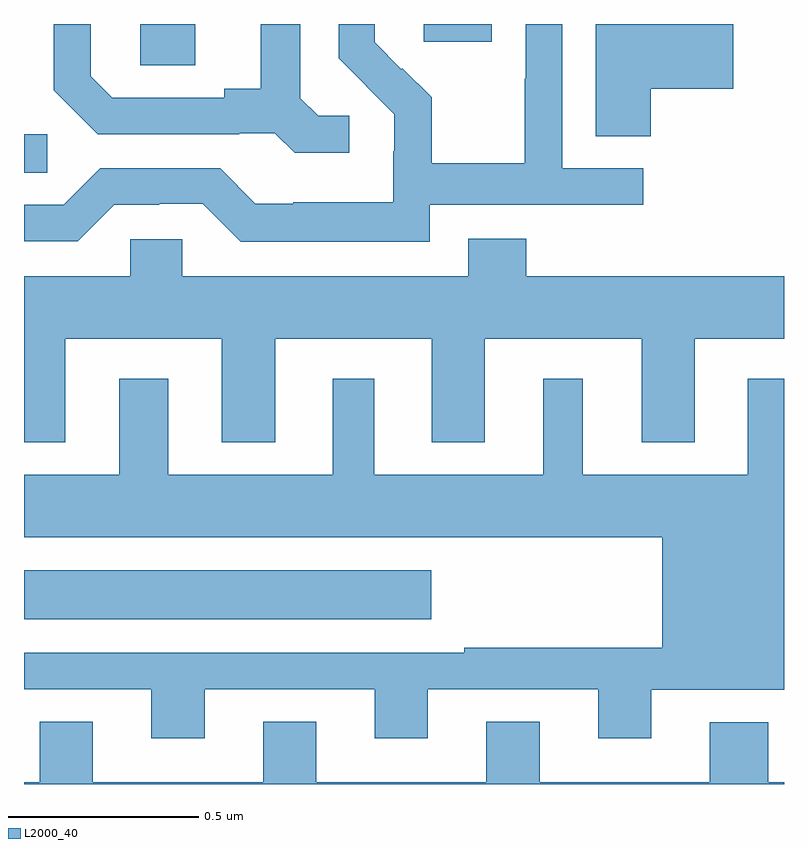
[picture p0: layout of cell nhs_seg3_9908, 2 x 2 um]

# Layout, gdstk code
import gdstk
lib = gdstk.Library(unit=1e-6, precision=1e-09)
def R(c, l, rs):  # rectangles x0, y0, x1, y1
    for r in rs: c.add(gdstk.rectangle(r[:2], r[2:], *l))
def P(c, l, *ps):  # polygons
    for p in ps: c.add(gdstk.Polygon(p, *l))
L2000_40 = (2000, 40)

nhs_seg3_9908 = lib.new_cell('nhs_seg3_9908')
R(nhs_seg3_9908, L2000_40, [(234,710.834,235.072,710.962), (234,712.009,234.061,712.11), (234.306,712.291,234.451,712.4), (235.052,712.353,235.231,712.4)])
P(nhs_seg3_9908, L2000_40, [(235.068,711.924),(235.63,711.924),(235.63,712.02),(235.416,712.02),(235.416,712.4),(235.32,712.4),(235.32,712.256),(235.318,712.256),(235.318,712.033),(235.073,712.033),(235.073,712.207),(234.996,712.284),(234.993,712.281),(234.923,712.352),(234.923,712.4),(234.828,712.4),(234.828,712.31),(234.901,712.237),(234.9,712.236),(234.974,712.162),(234.974,712.065),(234.972,712.065),(234.972,711.931),(234.709,711.931),(234.709,711.927),(234.609,711.927),(234.516,712.02),(234.201,712.02),(234.105,711.924),(234,711.924),(234,711.828),(234.141,711.828),(234.237,711.924),(234.356,711.924),(234.356,711.927),(234.471,711.927),(234.571,711.827),(235.068,711.827)],
  [(235.649,712.229),(235.867,712.229),(235.867,712.4),(235.505,712.4),(235.505,712.105),(235.649,712.105)],
  [(234.856,712.158),(234.774,712.158),(234.727,712.205),(234.727,712.4),(234.623,712.4),(234.623,712.229),(234.527,712.229),(234.527,712.206),(234.232,712.206),(234.175,712.263),(234.175,712.4),(234.078,712.4),(234.078,712.226),(234.194,712.11),(234.566,712.11),(234.566,712.113),(234.66,712.113),(234.712,712.061),(234.856,712.061)],
  [(234.109,711.572),(234.521,711.572),(234.521,711.299),(234.661,711.299),(234.661,711.572),(235.073,711.572),(235.073,711.299),(235.213,711.299),(235.213,711.572),(235.625,711.572),(235.625,711.299),(235.765,711.299),(235.765,711.572),(236,711.572),(236,711.736),(235.322,711.736),(235.322,711.835),(235.169,711.835),(235.169,711.736),(234.417,711.736),(234.417,711.834),(234.279,711.834),(234.279,711.736),(234,711.736),(234,711.299),(234.109,711.299)],
  [(234.475,710.649),(234.923,710.649),(234.923,710.52),(235.063,710.52),(235.063,710.649),(235.511,710.649),(235.511,710.52),(235.651,710.52),(235.651,710.648),(236,710.648),(236,711.466),(235.904,711.466),(235.904,711.214),(235.471,711.214),(235.471,711.466),(235.367,711.466),(235.367,711.214),(234.922,711.214),(234.922,711.466),(234.812,711.466),(234.812,711.214),(234.379,711.214),(234.379,711.466),(234.251,711.466),(234.251,711.214),(234,711.214),(234,711.05),(235.679,711.05),(235.679,710.758),(235.159,710.758),(235.159,710.745),(234,710.745),(234,710.649),(234.335,710.649),(234.335,710.52),(234.475,710.52)],
  [(236,710.404),(235.958,710.404),(235.958,710.563),(235.805,710.563),(235.805,710.404),(235.357,710.404),(235.357,710.564),(235.217,710.564),(235.217,710.404),(234.769,710.404),(234.769,710.564),(234.629,710.564),(234.629,710.404),(234.181,710.404),(234.181,710.564),(234.041,710.564),(234.041,710.404),(234,710.404),(234,710.4),(236,710.4)])

lib.write_gds('nhs_seg3_9908.gds')
